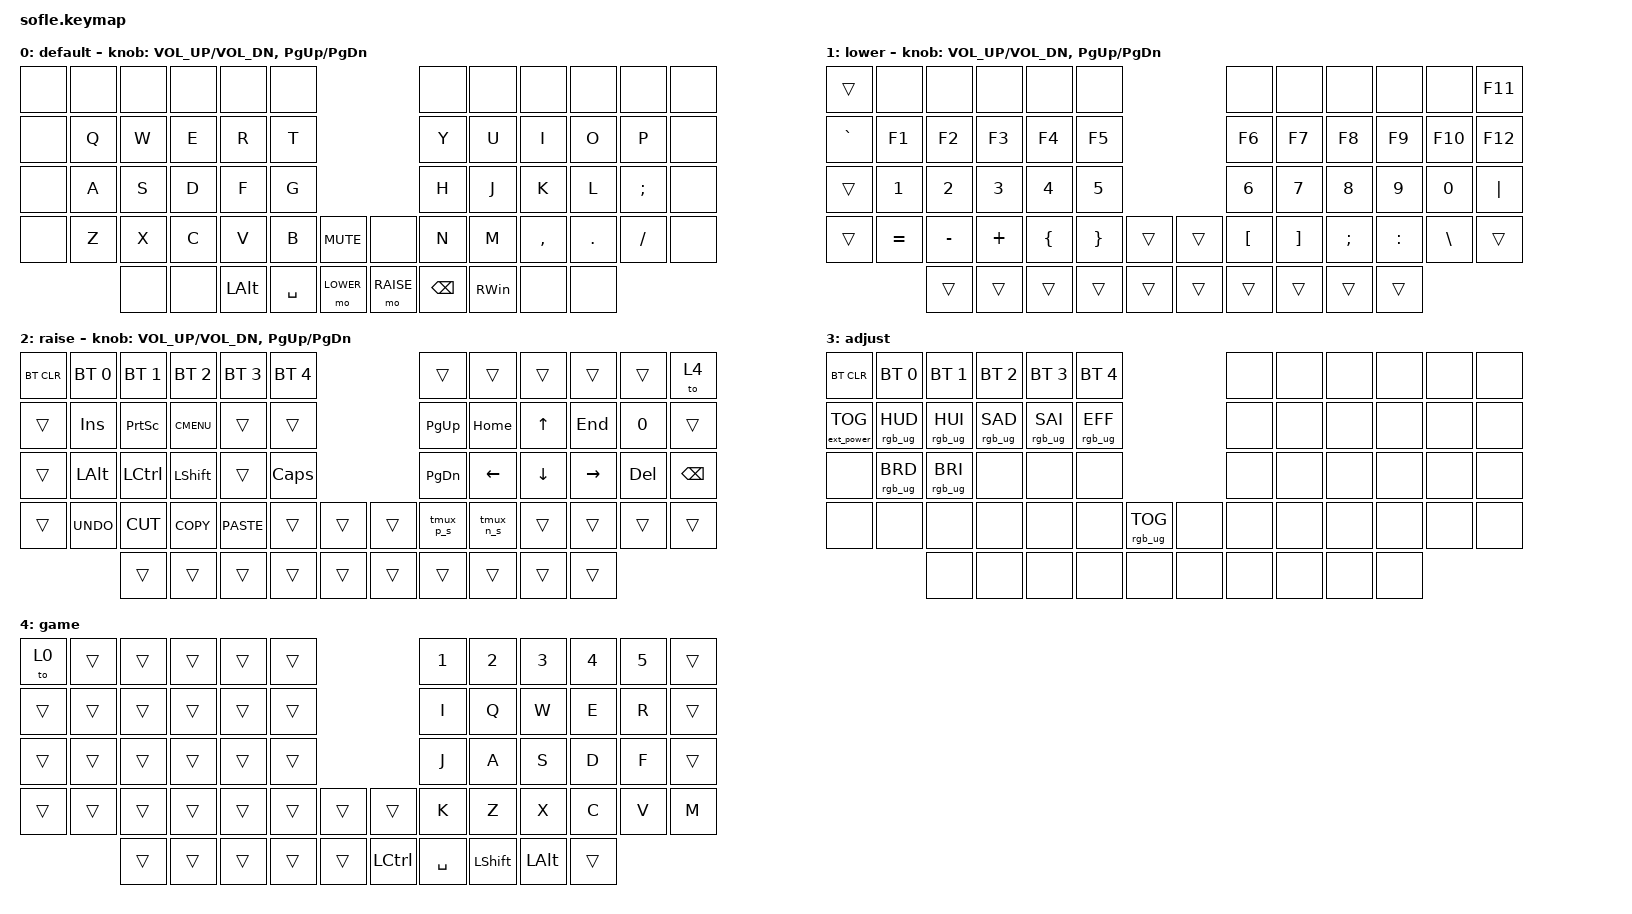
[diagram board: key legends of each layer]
/*
 * Copyright (c) 2020 The ZMK Contributors
 *
 * SPDX-License-Identifier: MIT
 */

#include <behaviors.dtsi>
#include <dt-bindings/zmk/bt.h>
#include <dt-bindings/zmk/ext_power.h>
#include <dt-bindings/zmk/keys.h>
#include <dt-bindings/zmk/rgb.h>

#define BASE 0
#define LOWER 1
#define RAISE 2
#define ADJUST 3
#define GAME 4

/ {
    macros {
        tmux_n_s: tmux_next_session {
            compatible = "zmk,behavior-macro";
            #binding-cells = <0>;
            wait-ms = <30>;
            tap-ms = <40>;
            bindings =
                <&macro_press>,
                <&kp LCTRL>,
                <&macro_tap>,
                <&kp SPACE>,
                <&macro_release>,
                <&kp LCTRL>,
                <&macro_tap>,
                <&kp RPAR>;
        };

        tmux_p_s: tmux_prev_session {
            compatible = "zmk,behavior-macro";
            #binding-cells = <0>;
            wait-ms = <30>;
            tap-ms = <40>;
            bindings =
                <&macro_press>,
                <&kp LCTRL>,
                <&macro_tap>,
                <&kp SPACE>,
                <&macro_release>,
                <&kp LCTRL>,
                <&macro_tap>,
                <&kp LPAR>;
        };
    };

    // Activate ADJUST layer by pressing raise and lower

    conditional_layers {
        compatible = "zmk,conditional-layers";

        adjust_layer {
            if-layers = <LOWER RAISE>;
            then-layer = <ADJUST>;
        };
    };

    combos {
        compatible = "zmk,combos";

        enter {
            bindings = <&kp ENTER>;
            key-positions = <31 32 33>;
        };
    };

    keymap {
        compatible = "zmk,keymap";

        base {
            display-name = "default";

            // ------------------------------------------------------------------------------------------------------------
            // |   `   |  1  |  2  |  3   |  4   |  5   |                   |  6   |  7    |  8    |  9   |   0   |   -_  |
            // |  ESC  |  Q  |  W  |  E   |  R   |  T   |                   |  Y   |  U    |  I    |  O   |   P   | BKSPC |
            // |  TAB  |  A  |  S  |  D   |  F   |  G   |                   |  H   |  J    |  K    |  L   |   ;   |   '   |
            // |  CTRL |  Z  |  X  |  C   |  V   |  B   |  MUTE  |  |       |  N   |  M    |  ,    |  .   |   /   |  GUI  |
            //               | GUI | ALT  | SHIFT| ENTER|  LOWER |  | RAISE | SPACE| SHIFT | CTRL  | ALT  |

            bindings = <
&none  &none  &none  &none  &none         &none                               &none          &none          &none      &none    &none     &none
&none  &kp Q  &kp W  &kp E  &kp R         &kp T                               &kp Y          &kp U          &kp I      &kp O    &kp P     &none
&none  &kp A  &kp S  &kp D  &kp F         &kp G                               &kp H          &kp J          &kp K      &kp L    &kp SEMI  &none
&none  &kp Z  &kp X  &kp C  &kp V         &kp B      &kp C_MUTE    &none      &kp N          &kp M          &kp COMMA  &kp DOT  &kp FSLH  &none
              &none  &none  &kp LEFT_ALT  &kp SPACE  &mo LOWER     &mo RAISE  &kp BACKSPACE  &kp RIGHT_WIN  &none      &none
            >;

            sensor-bindings = <&inc_dec_kp C_VOL_UP C_VOL_DN &inc_dec_kp PG_UP PG_DN>;
        };

        lower_layer {
            display-name = "lower";

            // TODO: Some binds are waiting for shifted keycode support.
            // ------------------------------------------------------------------------------------------------------------
            // |       |  F1 |  F2 |  F3  |  F4  |  F5  |                   |  F6  |  F7   |  F8   |  F9  |  F10  |  F11  |
            // |   `   |  1  |  2  |  3   |  4   |  5   |                   |  6   |  7    |  8    |  9   |   0   |  F12  |
            // |       |  !  |  @  |  #   |  $   |  %   |                   |  ^   |  &    |  *    |  (   |   )   |   |   |
            // |       |  =  |  -  |  +   |  {   |  }   |        |  |       |  [   |  ]    |  ;    |  :   |   \   |       |
            //               |     |      |      |      |        |  |       |      |       |       |      |

            bindings = <
&trans     &none         &none         &none         &none         &none                           &none         &none         &none         &none         &none         &kp F11
&kp GRAVE  &kp F1        &kp F2        &kp F3        &kp F4        &kp F5                          &kp F6        &kp F7        &kp F8        &kp F9        &kp F10       &kp F12
&trans     &kp NUMBER_1  &kp NUMBER_2  &kp NUMBER_3  &kp NUMBER_4  &kp NUMBER_5                    &kp NUMBER_6  &kp NUMBER_7  &kp NUMBER_8  &kp NUMBER_9  &kp NUMBER_0  &kp PIPE
&trans     &kp EQUAL     &kp MINUS     &kp PLUS      &kp LBRC      &kp RBRC      &trans    &trans  &kp LBKT      &kp RBKT      &kp SEMI      &kp COLON     &kp BSLH      &trans
                         &trans        &trans        &trans        &trans        &trans    &trans  &trans        &trans        &trans        &trans
            >;

            sensor-bindings = <&inc_dec_kp C_VOL_UP C_VOL_DN &inc_dec_kp PG_UP PG_DN>;
        };

        raise_layer {
            display-name = "raise";

            // ------------------------------------------------------------------------------------------------------------
            // | BTCLR | BT1  | BT2  |  BT3  |  BT4  |  BT5 |                |      |      |       |      |       |       |
            // |       | INS  | PSCR | GUI   |       |      |                | PGUP |      |   ^   |      |       |       |
            // |       | ALT  | CTRL | SHIFT |       | CAPS |                | PGDN |   <- |   v   |  ->  |  DEL  | BKSPC |
            // |       | UNDO | CUT  | COPY  | PASTE |      |      |  |      | TPS  | TNS  |       |      |       |       |
            //                |      |       |       |      |      |  |      |      |      |       |      |

            bindings = <
&bt BT_CLR  &bt BT_SEL 0  &bt BT_SEL 1  &bt BT_SEL 2  &bt BT_SEL 3  &bt BT_SEL 4                    &trans     &trans     &trans    &trans     &trans   &to 4
&trans      &kp INS       &kp PSCRN     &kp K_CMENU   &trans        &trans                          &kp PG_UP  &kp HOME   &kp UP    &kp END    &kp N0   &trans
&trans      &kp LALT      &kp LCTRL     &kp LSHFT     &trans        &kp CLCK                        &kp PG_DN  &kp LEFT   &kp DOWN  &kp RIGHT  &kp DEL  &kp BSPC
&trans      &kp K_UNDO    &kp K_CUT     &kp K_COPY    &kp K_PASTE   &trans        &trans    &trans  &tmux_p_s  &tmux_n_s  &trans    &trans     &trans   &trans
                          &trans        &trans        &trans        &trans        &trans    &trans  &trans     &trans     &trans    &trans
            >;

            sensor-bindings = <&inc_dec_kp C_VOL_UP C_VOL_DN &inc_dec_kp PG_UP PG_DN>;
        };

        adjust_layer {
            // ----------------------------------------------------------------------------------------------------------------------------
            // | BTCLR  |  BT1    |  BT2    |   BT3   |   BT4   |   BT5   |                  |      |      |       |      |       |       |
            // | EXTPWR | RGB_HUD | RGB_HUI | RGB_SAD | RGB_SAI | RGB_EFF |                  |      |      |       |      |       |       |
            // |        | RGB_BRD | RGB_BRI |         |         |         |                  |      |      |       |      |       |       |
            // |        |         |         |         |         |         | RGB_TOG | |      |      |      |       |      |       |       |
            //                    |         |         |         |         |         | |      |      |      |       |      |

            display-name = "adjust";
            bindings = <
&bt BT_CLR         &bt BT_SEL 0     &bt BT_SEL 1     &bt BT_SEL 2     &bt BT_SEL 3     &bt BT_SEL 4                               &none  &none  &none  &none  &none  &none
&ext_power EP_TOG  &rgb_ug RGB_HUD  &rgb_ug RGB_HUI  &rgb_ug RGB_SAD  &rgb_ug RGB_SAI  &rgb_ug RGB_EFF                            &none  &none  &none  &none  &none  &none
&none              &rgb_ug RGB_BRD  &rgb_ug RGB_BRI  &none            &none            &none                                      &none  &none  &none  &none  &none  &none
&none              &none            &none            &none            &none            &none            &rgb_ug RGB_TOG    &none  &none  &none  &none  &none  &none  &none
                                    &none            &none            &none            &none            &none              &none  &none  &none  &none  &none
            >;
        };

        game {
            bindings = <
&to 0   &trans  &trans  &trans  &trans  &trans                       &kp NUMBER_1  &kp NUMBER_2    &kp NUMBER_3  &kp NUMBER_4  &kp NUMBER_5  &trans
&trans  &trans  &trans  &trans  &trans  &trans                       &kp I         &kp Q           &kp W         &kp E         &kp R         &trans
&trans  &trans  &trans  &trans  &trans  &trans                       &kp J         &kp A           &kp S         &kp D         &kp F         &trans
&trans  &trans  &trans  &trans  &trans  &trans  &trans    &trans     &kp K         &kp Z           &kp X         &kp C         &kp V         &kp M
                &trans  &trans  &trans  &trans  &trans    &kp LCTRL  &kp SPACE     &kp LEFT_SHIFT  &kp LEFT_ALT  &trans
            >;
        };
    };
};
